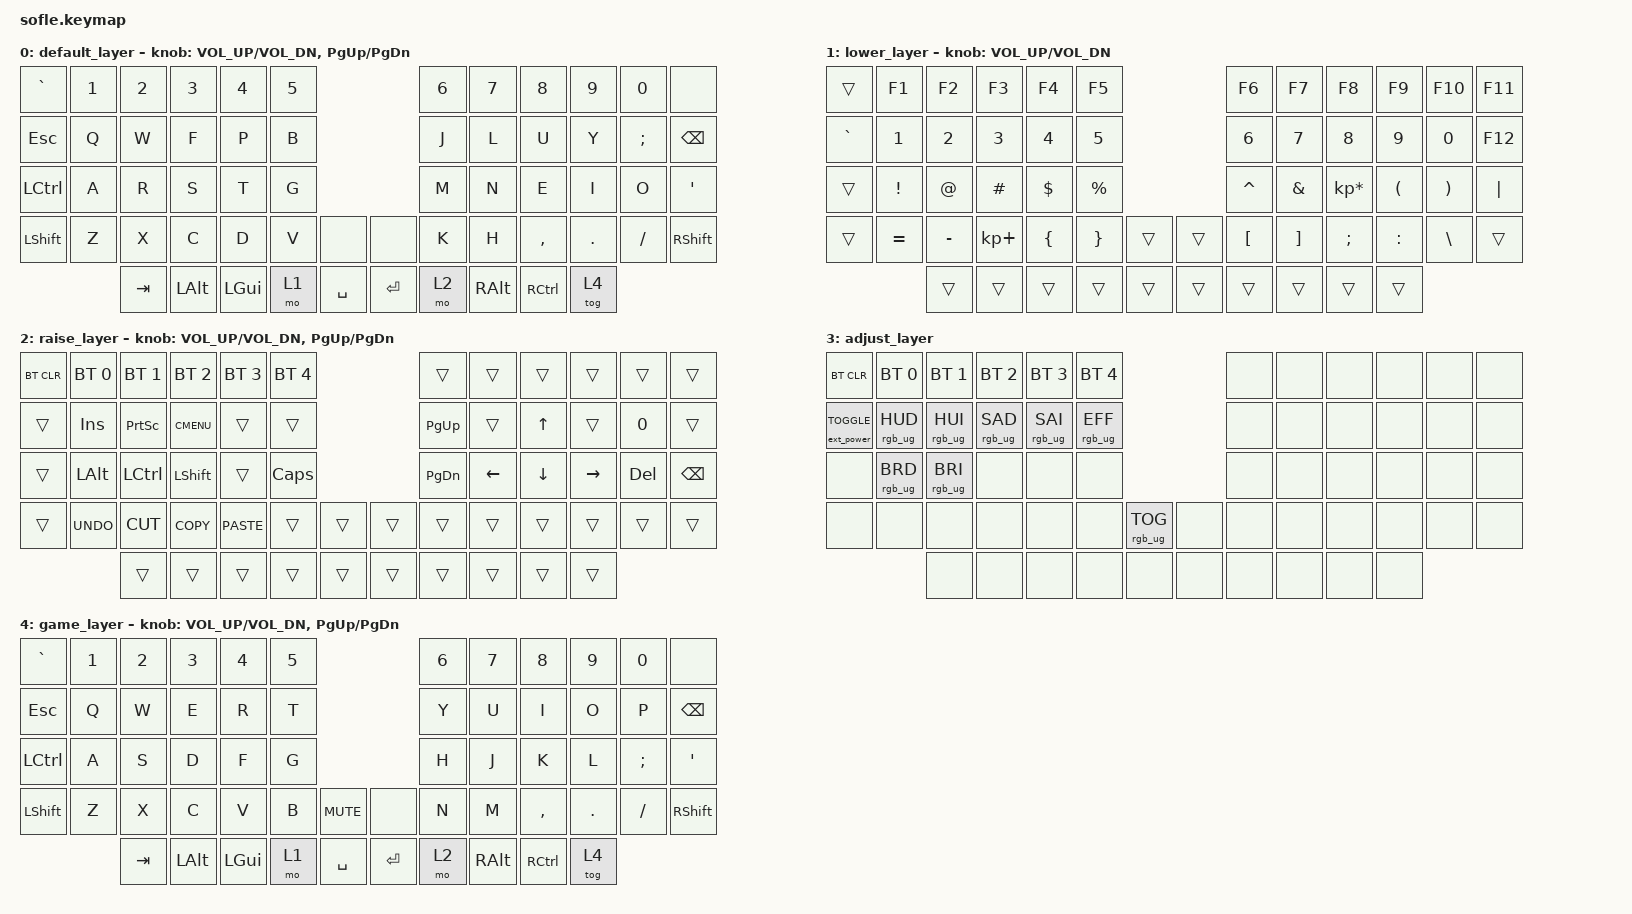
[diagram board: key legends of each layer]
/*
 * Copyright (c) 2020 The ZMK Contributors
 *
 * SPDX-License-Identifier: MIT
 */

#include <behaviors.dtsi>
#include <dt-bindings/zmk/keys.h>
#include <dt-bindings/zmk/bt.h>
#include <dt-bindings/zmk/outputs.h>
#include <dt-bindings/zmk/rgb.h>
#include <dt-bindings/zmk/ext_power.h>

#define COLEMAK 0
#define LOWER 1
#define RAISE 2
#define ADJUST 3
#define QWERTY 4

/ {

   // Activate ADJUST layer by pressing raise and lower
    conditional_layers {
        compatible = "zmk,conditional-layers";
        adjust_layer {
            if-layers = <LOWER RAISE>;
            then-layer = <ADJUST>;
        };
    };

    keymap {
        compatible = "zmk,keymap";

        default_layer {
// ------------------------------------------------------------------------------------------------------------
// |  `    |  1  |  2  |  3   |  4   |  5   |                   |  6   |  7   |  8    |  9   |   0   |       |
// |  ESC  |  Q  |  W  |  F   |  P   |  B   |                   |  J   |  L   |  U    |  Y   |   ;   | BKSPC |
// |  CTRL |  A  |  R  |  S   |  T   |  G   |                   |  M   |  N   |  E    |  I   |   O   |   '   |
// | SHIFT |  Z  |  X  |  C   |  D   |  V   |        |  |       |  K   |  H   |  ,    |  .   |   /   | SHIFT |
//               | TAB | ALT  | WIN  | LOWER|  SPACE |  | ENTER | RAISE|  ALT | CTRL  | GAME |
            bindings = <
&kp GRAVE &kp N1 &kp N2   &kp N3   &kp N4    &kp N5                      &kp N6  &kp N7    &kp N8    &kp N9   &kp N0   &none
&kp ESC   &kp Q  &kp W    &kp F    &kp P     &kp B                       &kp J   &kp L     &kp U     &kp Y    &kp SEMI &kp BSPC
&kp LCTRL &kp A  &kp R    &kp S    &kp T     &kp G                       &kp M   &kp N     &kp E     &kp I    &kp O    &kp SQT
&kp LSHFT &kp Z  &kp X    &kp C    &kp D     &kp V  &none      &none     &kp K   &kp H     &kp COMMA &kp DOT  &kp FSLH &kp RSHIFT
                 &kp TAB  &kp LALT &kp LGUI  &mo 1  &kp SPACE  &kp RET   &mo 2   &kp RALT  &kp RCTRL &tog 4
            >;

            sensor-bindings = <&inc_dec_kp C_VOL_UP C_VOL_DN &inc_dec_kp PG_UP PG_DN>;
        };

        lower_layer {
// TODO: Some binds are waiting for shifted keycode support.
// ------------------------------------------------------------------------------------------------------------
// |       |  F1 |  F2 |  F3  |  F4  |  F5  |                   |  F6  |  F7   |  F8   |  F9  |  F10  |  F11  |
// | `     |   1 |   2 |   3  |   4  |   5  |                   |   6  |   7   |   8   |   9  |    0  |  F12  |
// |       |  !  |  @  |  #   |  $   |  %   |                   |  ^   |  &    |  *    |  (   |   )   |   |   |
// |       |  =  |  -  |  +   |  {   |  }   |        |  |       |  [   |  ]    |  ;    |  :   |   \   |       |
//               |     |      |      |      |        |  |       |      |       |       |      |
            bindings = <
&trans    &kp F1    &kp F2    &kp F3      &kp F4    &kp F5                    &kp F6    &kp F7   &kp F8          &kp F9    &kp F10   &kp F11
&kp GRAVE &kp N1    &kp N2    &kp N3      &kp N4    &kp N5                    &kp N6    &kp N7   &kp N8          &kp N9    &kp N0    &kp F12
&trans    &kp EXCL  &kp AT    &kp HASH    &kp DLLR  &kp PRCNT                 &kp CARET &kp AMPS &kp KP_MULTIPLY &kp LPAR  &kp RPAR  &kp PIPE
&trans    &kp EQUAL &kp MINUS &kp KP_PLUS &kp LBRC  &kp RBRC  &trans   &trans &kp LBKT  &kp RBKT &kp SEMI        &kp COLON &kp BSLH  &trans
                    &trans    &trans      &trans    &trans    &trans   &trans &trans    &trans   &trans          &trans
            >;

            sensor-bindings = <&inc_dec_kp C_VOL_UP C_VOL_DN>;
        };

        raise_layer {
// ------------------------------------------------------------------------------------------------------------
// |BTCLR| BT1  | BT2  |  BT3  |  BT4  |  BT5 |                |      |      |       |      |       |       |
// |     | INS  | PSCR | GUI   |       |      |                | PGUP |      |   ^   |      |       |       |
// |     | ALT  | CTRL | SHIFT |       | CAPS |                | PGDN |   <- |   v   |  ->  |  DEL  | BKSPC |
// |     | UNDO | CUT  | COPY  | PASTE |      |      |  |      |      |      |       |      |       |       |
//              |      |       |       |      |      |  |      |      |      |       |      |
            bindings = <
&bt BT_CLR &bt BT_SEL 0 &bt BT_SEL 1 &bt BT_SEL 2 &bt BT_SEL 3 &bt BT_SEL 4             &trans    &trans    &trans   &trans    &trans  &trans
&trans     &kp INS      &kp PSCRN    &kp K_CMENU  &trans       &trans                   &kp PG_UP &trans    &kp UP   &trans    &kp N0  &trans
&trans     &kp LALT     &kp LCTRL    &kp LSHFT    &trans       &kp CLCK                 &kp PG_DN &kp LEFT  &kp DOWN &kp RIGHT &kp DEL &kp BSPC
&trans     &kp K_UNDO   &kp K_CUT    &kp K_COPY   &kp K_PASTE  &trans  &trans   &trans  &trans    &trans    &trans   &trans    &trans  &trans
                        &trans       &trans       &trans       &trans  &trans   &trans  &trans    &trans    &trans   &trans
            >;

            sensor-bindings = <&inc_dec_kp C_VOL_UP C_VOL_DN &inc_dec_kp PG_UP PG_DN>;
        };
        
        adjust_layer {
// ------------------------------------------------------------------------------------------------------------
// |BTCLR | BT1   | BT2   |  BT3  |  BT4  |  BT5  |                |      |      |       |      |       |       |
// |EXTPWR|RGB_HUD|RGB_HUI|RGB_SAD|RGB_SAI|RGB_EFF|                |      |      |       |      |       |       |
// |      |RGB_BRD|RGB_BRI|       |       |       |                |      |      |       |      |       |       |
// |      |       |       |       |       |       |RGB_TOG| |      |      |      |       |      |       |       |
//                |       |       |       |       |       | |      |      |      |       |      |
        bindings = <
&bt BT_CLR                      &bt BT_SEL 0    &bt BT_SEL 1    &bt BT_SEL 2    &bt BT_SEL 3    &bt BT_SEL 4                                    &none &none &none &none &none &none
&ext_power EXT_POWER_TOGGLE_CMD &rgb_ug RGB_HUD &rgb_ug RGB_HUI &rgb_ug RGB_SAD &rgb_ug RGB_SAI &rgb_ug RGB_EFF                                 &none &none &none &none &none &none
&none                           &rgb_ug RGB_BRD &rgb_ug RGB_BRI &none           &none           &none                                           &none &none &none &none &none &none
&none                           &none           &none           &none           &none           &none               &rgb_ug RGB_TOG  &none      &none &none &none &none &none &none
                                                &none           &none           &none           &none               &none            &none      &none &none &none &none
               >;
        };
        
        game_layer {
// ------------------------------------------------------------------------------------------------------------
// |  `    |  1  |  2  |  3   |  4   |  5   |                   |  6   |  7   |  8    |  9   |   0   |       |
// |  ESC  |  Q  |  W  |  E   |  R   |  T   |                   |  Y   |  U   |  I    |  O   |   P   | BKSPC |
// |  CTRL |  A  |  S  |  D   |  F   |  G   |                   |  H   |  J   |  K    |  L   |   ;   |   '   |
// | SHIFT |  Z  |  X  |  C   |  V   |  B   |  MUTE  |  |       |  N   |  M   |  ,    |  .   |   /   | SHIFT |
//               | TAB | ALT  | WIN  | LOWER|  SPACE |  | ENTER | RAISE| CTRL | ALT   | GAME |
            bindings = <
&kp GRAVE &kp N1 &kp N2   &kp N3   &kp N4    &kp N5                      &kp N6 &kp N7    &kp N8    &kp N9   &kp N0   &none
&kp ESC   &kp Q  &kp W    &kp E    &kp R     &kp T                       &kp Y  &kp U     &kp I     &kp O    &kp P    &kp BSPC
&kp LCTRL &kp A  &kp S    &kp D    &kp F     &kp G                       &kp H  &kp J     &kp K     &kp L    &kp SEMI &kp SQT
&kp LSHFT &kp Z  &kp X    &kp C    &kp V     &kp B  &kp C_MUTE &none     &kp N  &kp M     &kp COMMA &kp DOT  &kp FSLH &kp RSHFT
                 &kp TAB  &kp LALT &kp LGUI  &mo 1  &kp SPACE  &kp RET   &mo 2   &kp RALT  &kp RCTRL &tog 4
            >;

            sensor-bindings = <&inc_dec_kp C_VOL_UP C_VOL_DN &inc_dec_kp PG_UP PG_DN>;
        };
    };
};

&nice_view_spi {
    cs-gpios = <&pro_micro 0 GPIO_ACTIVE_HIGH>;
};

